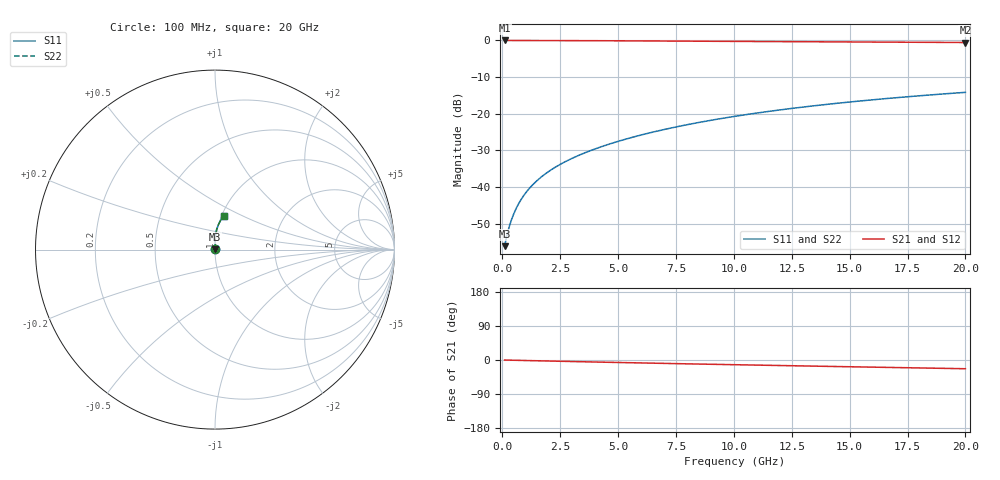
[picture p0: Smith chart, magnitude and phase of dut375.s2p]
! Touchstone file exported from HFSS 2024.1.0
!  File:  C:/UserFiles/LocalFiles/RDL_TSV_Batchsim/temp_RDL_bottom_375_1779613548.aedt
!  Generated:  05:08:57 PM May 24, 2026
!  Design:  RDL_bottom
!  Project:  temp_RDL_bottom_375_1779613548
!  Setup:  Setup1
!  Solution:  Sweep
! Variables:
!  dtsv = 10.80580581um
!  hbump = 3um
!  htsv = 97.42um
!  ldown = 347.39um
!  lrdl = 100um
!  p = 40
!  p1 = 42.95um
!  rhole = 1um
!  t = 450um
!  tdown = 4.84um
!  trdl = 3.915915916um
!  wdown = 23.62um
!  wrdl = 20um
# GHz S MA R 50.000000
! Terminal data exported
! Port[1] = RDL1_T1
! Port[2] = RDL1_T2
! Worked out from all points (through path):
!   200 points, 100 MHz to 20 GHz, reference 50 ohm
!   highest |S21| = -0.01 dB at 100 MHz (marker M1); lowest = -0.6 dB at 20 GHz (marker M2)
!   group delay of S21, straight-line fit = 3.16 ps
!   lowest |S11| = -56.1 dB at 100 MHz (marker M3), VSWR 1.00, Z = 50.1 + j0.0935 ohm
!   |S11| at or under -10 dB: start of sweep to end of sweep
!   |S22| runs from -56.1 to -14.2 dB; largest |S21 - S12| = 4e-15
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0.1  0.001566 36.6  0.9987 -0.1  0.9987 -0.1  0.001566 36.6
! Gamma 0 0 0 0
! Port Impedance 50 0 50 0
0.2  0.002204 52.4  0.9986 -0.3  0.9986 -0.3  0.002205 52.4
0.3  0.002889 61.4  0.9985 -0.4  0.9985 -0.4  0.002889 61.4
0.4  0.003611 67.1  0.9984 -0.6  0.9984 -0.6  0.003611 67.1
0.5  0.004358 71.1  0.9983 -0.7  0.9983 -0.7  0.004358 71.1
0.6  0.005122 74.0  0.9982 -0.8  0.9982 -0.8  0.005122 74.0
0.8  0.006681 77.8  0.9981 -1.1  0.9981 -1.1  0.006681 77.8
1.1  0.009058 81.1  0.9977 -1.5  0.9977 -1.5  0.009058 81.1
1.5  0.01226 83.6  0.9972 -2.0  0.9972 -2.0  0.01226 83.6
1.8  0.01468 84.8  0.9967 -2.5  0.9967 -2.5  0.01468 84.8
2.1  0.01712 85.8  0.9962 -2.9  0.9962 -2.9  0.01712 85.8
2.7  0.02205 87.1  0.9949 -3.6  0.9949 -3.6  0.02205 87.1
3.5  0.02878 88.3  0.9928 -4.7  0.9928 -4.7  0.02878 88.2
4.2  0.03486 88.9  0.9907 -5.6  0.9907 -5.6  0.03486 88.9
5  0.04204 89.4  0.9881 -6.6  0.9881 -6.6  0.04204 89.4
6.8  0.05913 89.4  0.9818 -8.8  0.9818 -8.8  0.05913 89.4
8.4  0.07521 88.6  0.9759 -10.6  0.9759 -10.6  0.07521 88.6
10.1  0.09287 87.2  0.9698 -12.5  0.9698 -12.5  0.09287 87.2
11.7  0.1098 85.5  0.9642 -14.3  0.9642 -14.3  0.1098 85.5
13.4  0.1278 83.6  0.9583 -16.1  0.9583 -16.1  0.1278 83.6
16.7  0.1624 79.5  0.9473 -19.6  0.9473 -19.6  0.1624 79.5
20  0.1959 75.5  0.9365 -23.0  0.9365 -23.0  0.1958 75.4
